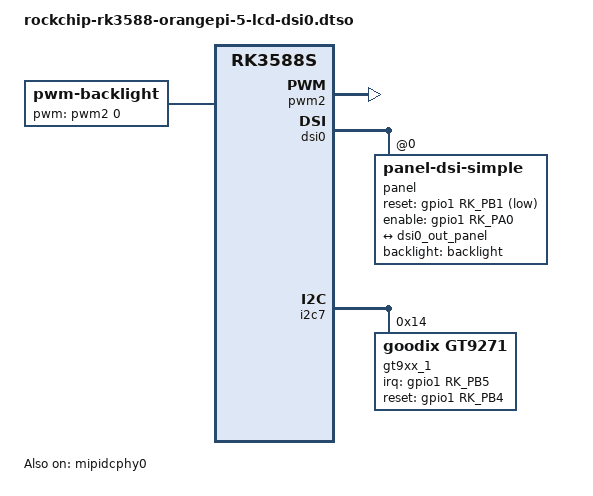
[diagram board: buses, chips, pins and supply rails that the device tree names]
// SPDX-License-Identifier: (GPL-2.0+ OR MIT)
/*
 * Orange Pi 5 / 5B DSI LCD -- Innolux AFJ101-BA2131, 800x1280.
 *
 * The vendor 6.1 kernel drives this panel with a dedicated driver,
 * panel-innolux-afj101-ba2131.c, which mainline does not carry. Everything
 * that driver does is expressible in DT, so use the generic panel-dsi-simple
 * driver instead:
 *
 *   - the panel's init table becomes panel-init-sequence, which uses the same
 *     dtype/wait/dlen layout the driver's panel_init_cmd did
 *   - afj101_ba2131_default_mode becomes display-timings
 *
 * The driver had no exit sequence, so neither does this.
 *
 * Note the compatible: mainline calls it "panel-dsi-simple", the vendor
 * "simple-panel-dsi". Same driver, words swapped.
 *
 * Board parts mainline lacks and that are therefore declared here: the
 * pwm-backlight, the panel reset pinctrl, and the VOP2 routing endpoints
 * (the vendor kernel had a dedicated &route_dsi0 node for the latter).
 */

/dts-v1/;
/plugin/;

#include <dt-bindings/gpio/gpio.h>
#include <dt-bindings/interrupt-controller/irq.h>
#include <dt-bindings/pinctrl/rockchip.h>
/* MIPI_DSI_* live in <drm/drm_mipi_dsi.h>, which DT cannot use and which
 * mainline has no dt-bindings copy of. Values from that header:
 *   MODE_VIDEO 1, MODE_VIDEO_BURST 2, MODE_NO_EOT_PACKET 512, MODE_LPM 2048
 *   FMT_RGB888 0
 */
#include <dt-bindings/soc/rockchip,vop2.h>

/ {
	compatible = "xunlong,orangepi-5", "xunlong,orangepi-5b", "rockchip,rk3588s";
};

/* &{/}, not a bare node in the / block above. A node declared directly in a
 * plugin's root stays a root node of the overlay rather than being wrapped in
 * a fragment, and dtc then emits __symbols__ { backlight = "/backlight" }.
 * U-Boot's libfdt requires every overlay symbol path to read
 * /<fragment>/__overlay__/... and fails the entire apply with
 * FDT_ERR_BADOVERLAY on anything else. Upstream fdtoverlay is laxer and lets
 * it through, which is how this went unnoticed.
 */
&{/} {
	backlight: backlight {
		compatible = "pwm-backlight";
		pwms = <&pwm2 0 25000 0>;
		brightness-levels = <0 20 21 22 23 24 25 26 27 28 29 30 31 32 33 34 35 36 37 38 39 40 41 42 43 44 45 46 47 48 49 50 51 52 53 54 55 56 57 58 59 60 61 62 63 64 65 66 67 68 69 70 71 72 73 74 75 76 77 78 79 80 81 82 83 84 85 86 87 88 89 90 91 92 93 94 95 96 97 98 99 100 101 102 103 104 105 106 107 108 109 110 111 112 113 114 115 116 117 118 119 120 121 122 123 124 125 126 127 128 129 130 131 132 133 134 135 136 137 138 139 140 141 142 143 144 145 146 147 148 149 150 151 152 153 154 155 156 157 158 159 160 161 162 163 164 165 166 167 168 169 170 171 172 173 174 175 176 177 178 179 180 181 182 183 184 185 186 187 188 189 190 191 192 193 194 195 196 197 198 199 200 201 202 203 204 205 206 207 208 209 210 211 212 213 214 215 216 217 218 219 220 221 222 223 224 225 226 227 228 229 230 231 232 233 234 235 236 237 238 239 240 241 242 243 244 245 246 247 248 249 250 251 252 253 254 255>;
		default-brightness-level = <200>;
	};
};

&pwm2 {
	status = "okay";
	/* "default", not the vendor's "active". Mainline's pwm-rockchip.c has no
	 * pinctrl code at all (grep -c pinctrl = 0), so it never calls
	 * pinctrl_select_state() and the "active" state is simply never applied.
	 * Only "default" is picked up, by the pinctrl core at probe. With
	 * "active" the PWM runs but its pin stays unmuxed and the backlight
	 * stays dark: pin 20 reads "(MUX UNCLAIMED)" in pinmux-pins.
	 */
	pinctrl-names = "default";
	pinctrl-0 = <&pwm2m0_pins>;
};

&pinctrl {
	lcd {
		lcd0_rst_gpio: lcd0-rst-gpio {
			rockchip,pins = <1 RK_PB1 RK_FUNC_GPIO &pcfg_pull_none>;
		};
	};
};

&mipidcphy0 {
	status = "okay";
};

&dsi0 {
	#address-cells = <1>;
	#size-cells = <0>;
	status = "okay";

	panel: panel@0 {
		compatible = "panel-dsi-simple";
		reg = <0>;
		status = "okay";
		backlight = <&backlight>;
		reset-gpios = <&gpio1 RK_PB1 GPIO_ACTIVE_LOW>;
		enable-gpios = <&gpio1 RK_PA0 GPIO_ACTIVE_HIGH>;
		pinctrl-names = "default";
		pinctrl-0 = <&lcd0_rst_gpio>;

		/*
		 * 2051 = VIDEO | VIDEO_BURST | LPM, exactly what the vendor
		 * driver sets:
		 *   dsi->mode_flags = MIPI_DSI_MODE_VIDEO |
		 *                     MIPI_DSI_MODE_VIDEO_BURST |
		 *                     MIPI_DSI_MODE_LPM;
		 * NO_EOT_PACKET (512) is deliberately NOT set. It was added
		 * here on the assumption that these panels want it -- the
		 * vendor tree does use it in 68 other DTS files -- but this
		 * panel's own driver omits it, and dropping the EOT packet is
		 * exactly the sort of thing that makes a receiver lose packet
		 * framing. That would show up as a picture that is present
		 * but jittering and corrupt rather than absent, which is what
		 * we are chasing.
		 */
		dsi,flags = <2051>;
		dsi,format = <0>;      /* RGB888 */
		dsi,lanes = <4>;

		/* These mirror the delays in the vendor driver's prepare():
		 *   enable -> 1, msleep(25), reset -> 1, msleep(25),
		 *   reset -> 0, msleep(200), then the init table.
		 * panel-simple-dsi applies them in that exact order, but only
		 * if the *-delay-ms properties are present -- its
		 * of_device_id table carries .data = NULL, so there is no
		 * built-in panel_desc and every delay defaults to 0. Without
		 * them the init table goes out the instant reset is released
		 * and the panel stays grey behind a lit backlight.
		 */
		prepare-delay-ms = <25>;
		reset-delay-ms = <25>;
		init-delay-ms = <200>;
		/* vendor enable() sleeps 150 before its extra set_display_on */
		enable-delay-ms = <150>;
		/* vendor unprepare() sleeps 200 before asserting reset */
		unprepare-delay-ms = <200>;

		/* afj101_ba2131_default_mode.width_mm / .height_mm */
		width-mm = <136>;
		height-mm = <217>;

		panel-init-sequence = [
				39 00 04 FF 98 81 03
				15 00 02 01 00
				15 00 02 02 00
				15 00 02 03 53
				15 00 02 04 D3
				15 00 02 05 00
				15 00 02 06 0D
				15 00 02 07 08
				15 00 02 08 00
				15 00 02 09 00
				15 00 02 0a 00
				15 00 02 0b 00
				15 00 02 0c 00
				15 00 02 0d 00
				15 00 02 0e 00
				15 00 02 0f 28
				15 00 02 10 28
				15 00 02 11 00
				15 00 02 12 00
				15 00 02 13 00
				15 00 02 14 00
				15 00 02 15 00
				15 00 02 16 00
				15 00 02 17 00
				15 00 02 18 00
				15 00 02 19 00
				15 00 02 1a 00
				15 00 02 1b 00
				15 00 02 1c 00
				15 00 02 1d 00
				15 00 02 1e 40
				15 00 02 1f 80
				15 00 02 20 06
				15 00 02 21 01
				15 00 02 22 00
				15 00 02 23 00
				15 00 02 24 00
				15 00 02 25 00
				15 00 02 26 00
				15 00 02 27 00
				15 00 02 28 33
				15 00 02 29 33
				15 00 02 2a 00
				15 00 02 2b 00
				15 00 02 2c 00
				15 00 02 2d 00
				15 00 02 2e 00
				15 00 02 2f 00
				15 00 02 30 00
				15 00 02 31 00
				15 00 02 32 00
				15 00 02 33 00
				15 00 02 34 03
				15 00 02 35 00
				15 00 02 36 00
				15 00 02 37 00
				15 00 02 38 96
				15 00 02 39 00
				15 00 02 3a 00
				15 00 02 3b 00
				15 00 02 3c 00
				15 00 02 3d 00
				15 00 02 3e 00
				15 00 02 3f 00
				15 00 02 40 00
				15 00 02 41 00
				15 00 02 42 00
				15 00 02 43 00
				15 00 02 44 00
				15 00 02 50 00
				15 00 02 51 23
				15 00 02 52 45
				15 00 02 53 67
				15 00 02 54 89
				15 00 02 55 AB
				15 00 02 56 01
				15 00 02 57 23
				15 00 02 58 45
				15 00 02 59 67
				15 00 02 5a 89
				15 00 02 5b AB
				15 00 02 5c CD
				15 00 02 5d EF
				15 00 02 5e 00
				15 00 02 5f 08
				15 00 02 60 08
				15 00 02 61 06
				15 00 02 62 06
				15 00 02 63 01
				15 00 02 64 01
				15 00 02 65 00
				15 00 02 66 00
				15 00 02 67 02
				15 00 02 68 15
				15 00 02 69 15
				15 00 02 6a 14
				15 00 02 6b 14
				15 00 02 6c 0D
				15 00 02 6d 0D
				15 00 02 6e 0C
				15 00 02 6f 0C
				15 00 02 70 0F
				15 00 02 71 0F
				15 00 02 72 0E
				15 00 02 73 0E
				15 00 02 74 02
				15 00 02 75 08
				15 00 02 76 08
				15 00 02 77 06
				15 00 02 78 06
				15 00 02 79 01
				15 00 02 7a 01
				15 00 02 7b 00
				15 00 02 7c 00
				15 00 02 7d 02
				15 00 02 7e 15
				15 00 02 7f 15
				15 00 02 80 14
				15 00 02 81 14
				15 00 02 82 0D
				15 00 02 83 0D
				15 00 02 84 0C
				15 00 02 85 0C
				15 00 02 86 0F
				15 00 02 87 0F
				15 00 02 88 0E
				15 00 02 89 0E
				15 00 02 8A 02
				39 00 04 FF 98 81 04
				15 00 02 6E 2B
				15 00 02 6F 37
				15 00 02 3A A4
				15 00 02 8D 1A
				15 00 02 87 BA
				15 00 02 B2 D1
				15 00 02 88 0B
				15 00 02 38 01
				15 00 02 39 00
				15 00 02 B5 07
				15 00 02 31 75
				15 00 02 3B 98
				39 00 04 FF 98 81 01
				15 00 02 43 33
				15 00 02 22 0A
				15 00 02 31 00
				15 00 02 53 48
				15 00 02 55 48
				15 00 02 50 99
				15 00 02 51 94
				15 00 02 60 10
				15 00 02 62 20
				15 00 02 A0 00
				15 00 02 A1 00
				15 00 02 A2 15
				15 00 02 A3 14
				15 00 02 A4 1B
				15 00 02 A5 2F
				15 00 02 A6 25
				15 00 02 A7 24
				15 00 02 A8 80
				15 00 02 A9 1F
				15 00 02 AA 2C
				15 00 02 AB 6C
				15 00 02 AC 16
				15 00 02 AD 14
				15 00 02 AE 4D
				15 00 02 AF 20
				15 00 02 B0 29
				15 00 02 B1 4F
				15 00 02 B2 5F
				15 00 02 B3 23
				15 00 02 C0 00
				15 00 02 C1 2E
				15 00 02 C2 3B
				15 00 02 C3 15
				15 00 02 C4 16
				15 00 02 C5 28
				15 00 02 C6 1A
				15 00 02 C7 1C
				15 00 02 C8 A7
				15 00 02 C9 1B
				15 00 02 CA 28
				15 00 02 CB 92
				15 00 02 CC 1F
				15 00 02 CD 1C
				15 00 02 CE 4B
				15 00 02 CF 1F
				15 00 02 D0 28
				15 00 02 D1 4E
				15 00 02 D2 5C
				15 00 02 D3 23
				39 00 04 FF 98 81 00
				15 00 02 11 00
				15 78 02 29 00
				15 00 02 35 00
		];
		display-timings {
			native-mode = <&panel_timing>;

			panel_timing: timing0 {
				/*
				 * 60MHz, down from the vendor's 62.1MHz.
				 *
				 * The pixel clock is what sets the frame rate
				 * once htotal/vtotal are fixed, so this is the
				 * one field that moves. Every porch and both
				 * totals stay at the panel's own values, which
				 * keeps the blanking ratios identical and lets
				 * the whole set scale together:
				 *
				 *   60000000 / (865 * 1327) = 52.28 Hz
				 *   lane rate 414.0 -> 400.0 Mbps
				 *
				 * Do not be tempted to hold the frame rate by
				 * stretching vtotal instead -- see the git log
				 * for the 1096-line vfront-porch that came out
				 * of that and was rightly thrown away.
				 */
				clock-frequency = <60000000>;
				hactive = <800>;
				hfront-porch = <40>;
				hback-porch = <20>;
				hsync-len = <5>;
				vactive = <1280>;
				vfront-porch = <30>;
				vback-porch = <12>;
				vsync-len = <5>;
				hsync-active = <0>;
				vsync-active = <0>;
				de-active = <1>;
				pixelclk-active = <0>;
			};
		};


		port {
			panel_in_dsi: endpoint {
				remote-endpoint = <&dsi0_out_panel>;
			};
		};
	};
};

&dsi0_out {
	dsi0_out_panel: endpoint {
		remote-endpoint = <&panel_in_dsi>;
	};
};

&dsi0_in {
	dsi0_in_vp2: endpoint {
		remote-endpoint = <&vp2_out_dsi0>;
	};
};

&vp2 {
	#address-cells = <1>;
	#size-cells = <0>;

	vp2_out_dsi0: endpoint@ROCKCHIP_VOP2_EP_MIPI0 {
		reg = <ROCKCHIP_VOP2_EP_MIPI0>;
		remote-endpoint = <&dsi0_in_vp2>;
	};
};

/*
 * Touch controller for the DSI0 panel: a Goodix GT9271 sitting on i2c7.
 *
 * Straight from the vendor tree's rk3588s-orangepi-5-lcd.dtsi, which pairs
 * the DSI0 panel with i2c7 and the DSI1 panel with i2c2 -- different buses
 * and different GPIOs for the two connectors, so the two overlays do not
 * collide.
 *
 * mainline already carries the driver (goodix,gt9271 is in goodix_of_match)
 * and its GPIO names match what is used here: goodix.c asks for "irq" and
 * "reset", so irq-gpios/reset-gpios line up without translation.
 *
 * No pinctrl on i2c7: rk3588-base.dtsi already sets pinctrl-0 = <&i2c7m0_xfer>,
 * and that group is byte-for-byte the same in both trees
 * (<1 RK_PD0 9>, <1 RK_PD1 9>).
 *
 * The size/swap pair describes a 1280x800 digitizer under an 800x1280
 * portrait panel: swapped-x-y rotates it, inverted-x then puts the origin
 * back in the right corner. Vendor's values, kept as-is.
 */
&i2c7 {
	/* restated for dtc, which checks this fragment without the base tree */
	#address-cells = <1>;
	#size-cells = <0>;
	status = "okay";

	gt9xx_1: touchscreen@14 {
		compatible = "goodix,gt9271";
		reg = <0x14>;
		status = "okay";

		interrupt-parent = <&gpio1>;
		interrupts = <RK_PB5 IRQ_TYPE_LEVEL_LOW>;
		irq-gpios = <&gpio1 RK_PB5 IRQ_TYPE_LEVEL_LOW>;
		reset-gpios = <&gpio1 RK_PB4 GPIO_ACTIVE_HIGH>;

		touchscreen-size-x = <1280>;
		touchscreen-size-y = <800>;
		touchscreen-swapped-x-y;
		touchscreen-inverted-x;
	};
};
